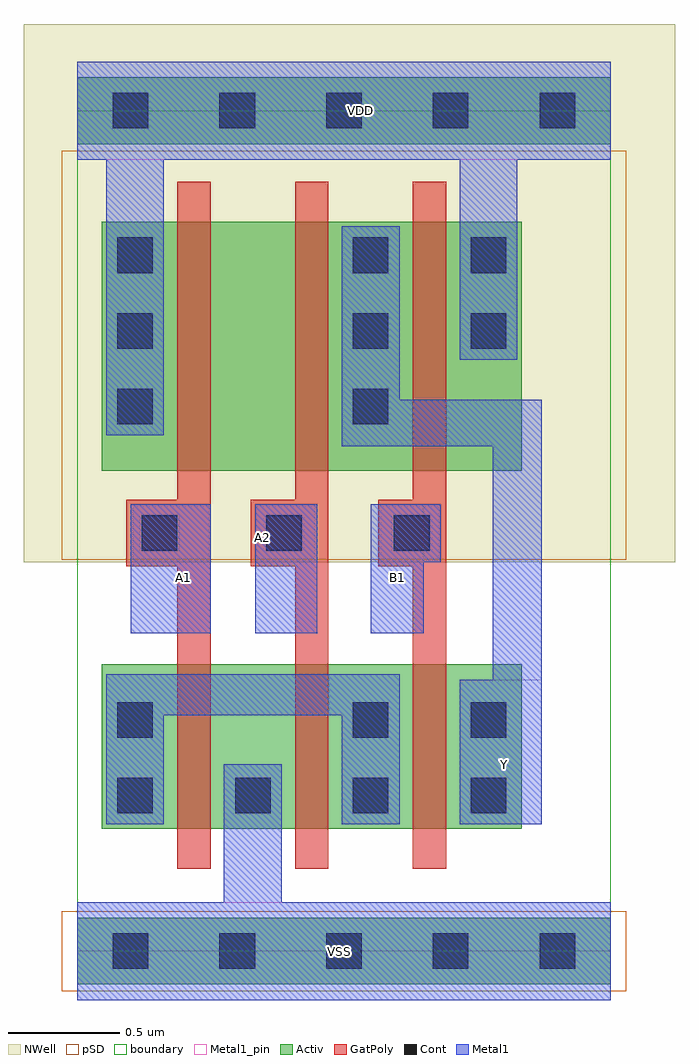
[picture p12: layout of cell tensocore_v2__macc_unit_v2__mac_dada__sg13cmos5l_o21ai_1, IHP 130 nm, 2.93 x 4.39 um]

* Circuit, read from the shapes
.subckt tensocore_v2__macc_unit_v2__mac_dada__sg13cmos5l_o21ai_1 A1 A2 B1 VDD VSS Y
XM1 VSS A1 n1 VSS sg13_lv_nmos w=0.74u l=0.15u
XM2 n1 A2 VSS VSS sg13_lv_nmos w=0.74u l=0.15u
XM3 Y B1 n1 VSS sg13_lv_nmos w=0.74u l=0.15u
XM4 n2 A1 VDD VDD sg13_lv_pmos w=1.12u l=0.15u
XM5 Y A2 n2 VDD sg13_lv_pmos w=1.12u l=0.15u
XM6 VDD B1 Y VDD sg13_lv_pmos w=1.12u l=0.15u
.ends

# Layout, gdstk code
import gdstk
lib = gdstk.Library(unit=1e-6, precision=1e-09)
def R(c, l, rs):  # rectangles x0, y0, x1, y1
    for r in rs: c.add(gdstk.rectangle(r[:2], r[2:], *l))
def A(c, l, x, y, w, h, nx, ny, dx, dy):  # array of equal rectangles
    R(c, l, [(x+i*dx, y+j*dy, x+i*dx+w, y+j*dy+h) for i in range(nx) for j in range(ny)])
def P(c, l, *ps):  # polygons
    for p in ps: c.add(gdstk.Polygon(p, *l))
Activ = (1, 0)
GatPoly = (5, 0)
Cont = (6, 0)
Metal1 = (8, 0)
Metal1_pin = (8, 2)
pSD = (14, 0)
NWell = (31, 0)
boundary = (189, 4)

tensocore_v2__macc_unit_ = lib.new_cell('tensocore_v2__macc_unit_v2__mac_dada__sg13cmos5l_o21ai_1')
R(tensocore_v2__macc_unit_, Activ, [(0,-0.15,2.4,0.15), (0.11,0.55,2,1.29), (0.11,2.16,2,3.28), (0,3.63,2.4,3.93)])
R(tensocore_v2__macc_unit_, GatPoly, [(1.51,0.37,1.66,1.47)])
P(tensocore_v2__macc_unit_, GatPoly, [(1.51,1.47),(1.51,1.73),(1.355,1.73),(1.355,2.03),(1.51,2.03),(1.51,3.46),(1.66,3.46),(1.66,1.47)],
  [(0.98,0.37),(0.98,1.73),(0.78,1.73),(0.78,2.03),(0.98,2.03),(0.98,3.46),(1.13,3.46),(1.13,0.37)],
  [(0.45,0.37),(0.45,1.73),(0.22,1.73),(0.22,2.03),(0.45,2.03),(0.45,3.46),(0.6,3.46),(0.6,0.37)])
A(tensocore_v2__macc_unit_, Cont, 0.16, -0.08, 0.16, 0.16, 5, 2, 0.48, 3.78)
A(tensocore_v2__macc_unit_, Cont, 0.18, 0.62, 0.16, 0.16, 4, 1, 0.53, 0)
A(tensocore_v2__macc_unit_, Cont, 0.18, 2.37, 0.16, 0.16, 1, 3, 0, 0.34)
A(tensocore_v2__macc_unit_, Cont, 1.24, 2.37, 0.16, 0.16, 1, 3, 0, 0.34)
R(tensocore_v2__macc_unit_, Cont, [(0.18,0.96,0.34,1.12), (1.24,0.96,1.4,1.12), (1.77,0.96,1.93,1.12), (0.29,1.8,0.45,1.96), (0.85,1.8,1.01,1.96), (1.425,1.8,1.585,1.96), (1.77,2.71,1.93,2.87), (1.77,3.05,1.93,3.21)])
R(tensocore_v2__macc_unit_, Metal1, [(0.24,1.43,0.6,2.01), (0.8,1.43,1.08,2.01), (1.72,2.66,1.98,3.56)])
P(tensocore_v2__macc_unit_, Metal1, [(1.72,0.57),(1.72,1.22),(1.87,1.22),(1.87,2.27),(1.19,2.27),(1.19,3.26),(1.45,3.26),(1.45,2.48),(2.09,2.48),(2.09,0.57)],
  [(1.32,1.43),(1.32,2.01),(1.635,2.01),(1.635,1.75),(1.56,1.75),(1.56,1.43)],
  [(0.13,0.57),(0.13,1.245),(1.45,1.245),(1.45,0.57),(1.19,0.57),(1.19,1.06),(0.39,1.06),(0.39,0.57)],
  [(0.13,2.32),(0.13,3.56),(0,3.56),(0,4),(2.4,4),(2.4,3.56),(0.39,3.56),(0.39,2.32)],
  [(0,-0.22),(0,0.22),(0.66,0.22),(0.66,0.84),(0.92,0.84),(0.92,0.22),(2.4,0.22),(2.4,-0.22)])
R(tensocore_v2__macc_unit_, Metal1_pin, [(0,-0.22,2.4,0.22), (1.72,0.57,2.09,1.22), (0.24,1.43,0.6,2.01), (0.8,1.43,1.08,2.01), (1.32,1.43,1.56,2.01), (0,3.56,2.4,4)])
R(tensocore_v2__macc_unit_, pSD, [(-0.07,-0.18,2.47,0.18), (-0.07,1.76,2.47,3.6)])
R(tensocore_v2__macc_unit_, NWell, [(-0.24,1.75,2.69,4.17)])
R(tensocore_v2__macc_unit_, boundary, [(0,0,2.4,3.78)])
tensocore_v2__macc_unit_.add(gdstk.Label('A1', (0.48,1.68), layer=8, texttype=25))
tensocore_v2__macc_unit_.add(gdstk.Label('A2', (0.835,1.86), layer=8, texttype=25))
tensocore_v2__macc_unit_.add(gdstk.Label('B1', (1.44,1.68), layer=8, texttype=25))
tensocore_v2__macc_unit_.add(gdstk.Label('Y', (1.92,0.84), layer=8, texttype=25))
tensocore_v2__macc_unit_.add(gdstk.Label('VDD', (1.275,3.78), layer=8, texttype=25))
tensocore_v2__macc_unit_.add(gdstk.Label('VSS', (1.18,0), layer=8, texttype=25))

lib.write_gds('tensocore_v2__macc_unit_v2__mac_dada__sg13cmos5l_o21ai_1.gds')
